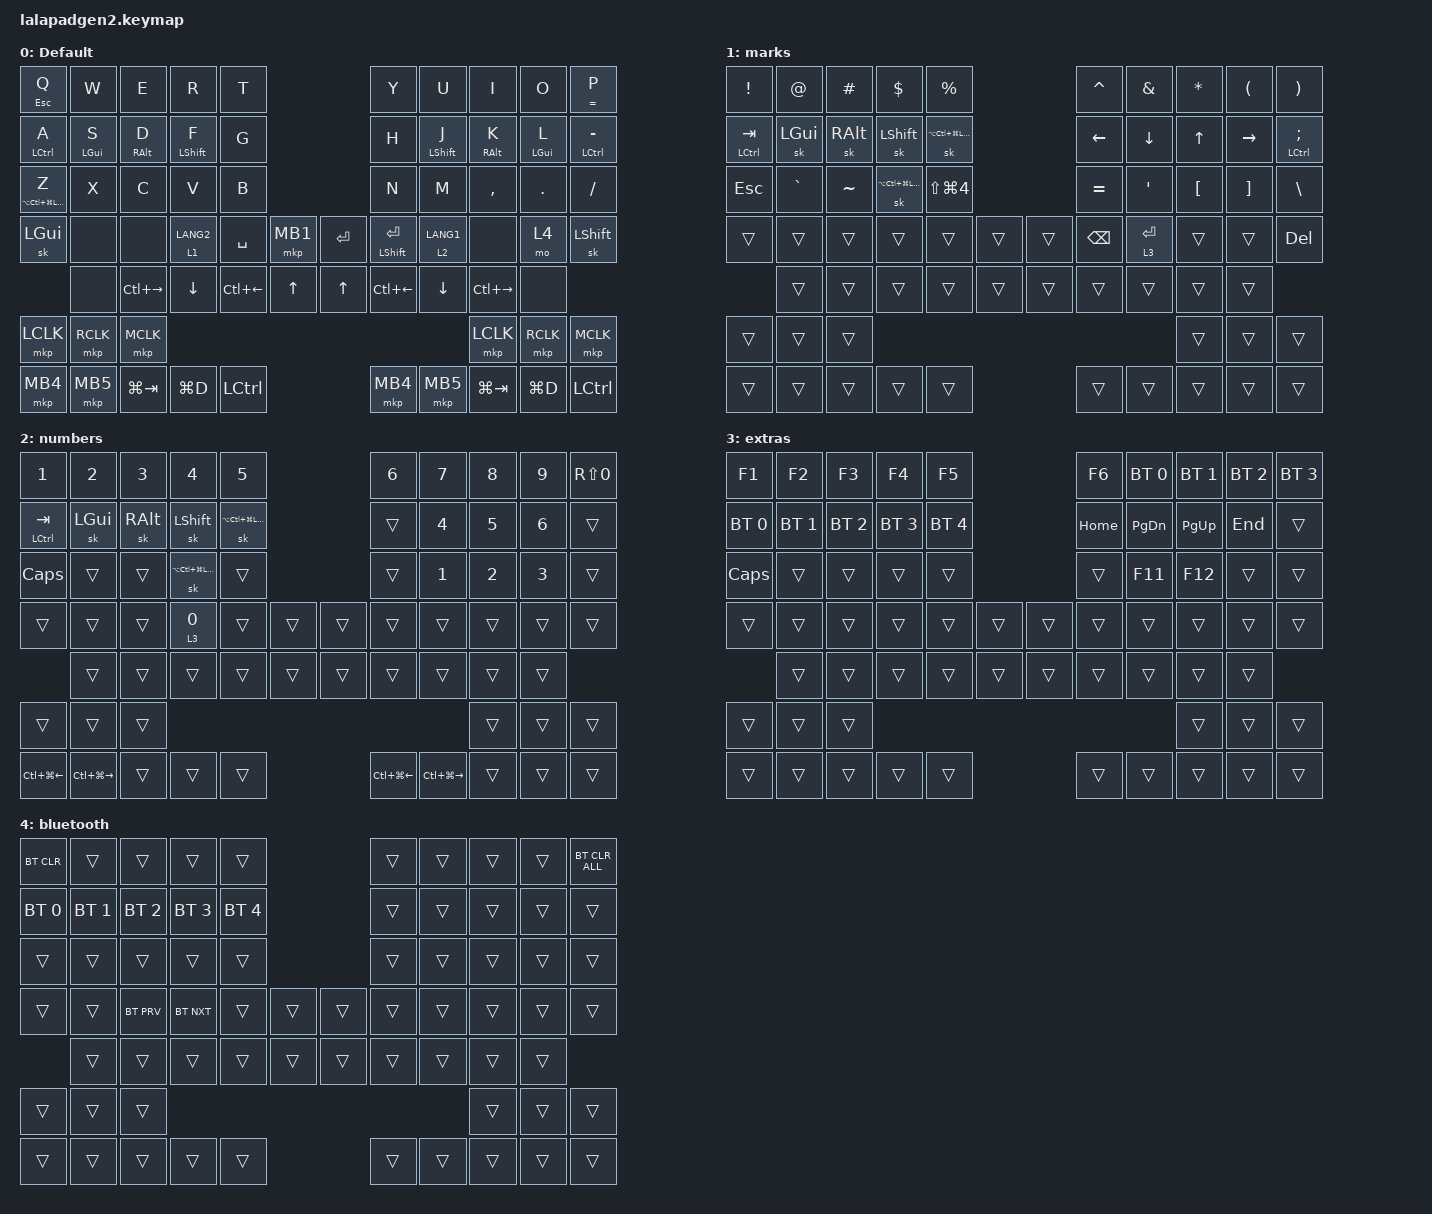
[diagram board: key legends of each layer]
#include <input/processors.dtsi>
#include <dt-bindings/zmk/zip_dynamic_scale.h>
#include <behaviors.dtsi>
#include <dt-bindings/zmk/bt.h>
#include <dt-bindings/zmk/keys.h>
#include <dt-bindings/zmk/pointing.h>

#define DEFAULT_LAYER   0
#define SECONDARY_LAYER 1
#define TERTIARY_LAYER  2
#define SYSTEM_LAYER    3

&mt { quick-tap-ms = <200>; };

&lt { quick-tap-ms = <200>; };

&trackpad_listener_L {
    status = "okay"; /* 最初はdisabledになっているので、ここで有効化します */

    /* 通常時の速度調整：好みに合わせて数値を変更してください */
    input-processors = <&trackpad_key_behaviors_L>,
                      <&zip_xy_scaler 1 5>,        /* 5倍速（等速） */
                      <&zip_scroll_scaler 1 12>,
                      <&zip_dynamic_xy_scaler>,
                      <&zip_dynamic_scroll_scaler>;

    /* レイヤー1または2（精細・低速モード）に入ったときの速度調整 */
    lowspeedmode {
        layers = <1 2>;
        input-processors = <&trackpad_key_behaviors_L>,
                          <&zip_xy_scaler 1 15>,       /* 15分の1（超低速） */
                          <&zip_scroll_scaler 1 40>,
                          <&zip_dynamic_xy_scaler>,
                          <&zip_dynamic_scroll_scaler>;
    };
};

&trackpad_listener_R {
    status = "okay"; /* 右側も有効化 */

    input-processors = <&trackpad_key_behaviors_R>,
                      <&zip_xy_scaler 1 5>,
                      <&zip_scroll_scaler 1 12>,
                      <&zip_dynamic_xy_scaler>,
                      <&zip_dynamic_scroll_scaler>;

    lowspeedmode {
        layers = <1 2>;
        input-processors = <&trackpad_key_behaviors_R>,
                          <&zip_xy_scaler 1 15>,
                          <&zip_scroll_scaler 1 40>,
                          <&zip_dynamic_xy_scaler>,
                          <&zip_dynamic_scroll_scaler>;
    };
};

/ {
    behaviors {
        zip_dyn_scale: zip_dyn_scale {
            compatible = "zmk,behavior-zip-dynamic-scale";
            #binding-cells = <2>;
        };

        zip_dyn_scale_set: zip_dyn_scale_set {
            compatible = "zmk,behavior-zip-dynamic-scale-set";
            #binding-cells = <2>;
        };

        mt2: mod_tap2 {
            compatible = "zmk,behavior-hold-tap";
            #binding-cells = <2>;
            flavor = "tap-preferred";
            tapping-term-ms = <200>;
            quick-tap-ms = <200>;
            require-prior-idle-ms = <125>;
            bindings = <&kp>, <&kp>;
        };

        tap_dance_layer_1and2: tap_dance_layer_1and2 {
            compatible = "zmk,behavior-tap-dance";
            label = "td_mo12";
            #binding-cells = <0>;
            bindings = <&mo 2>, <&mo 1>;
        };

        tap_preferred: tap_preferred {
            compatible = "zmk,behavior-hold-tap";
            label = "TAP_PREFERRED";
            bindings = <&kp>, <&kp>;

            #binding-cells = <2>;
            tapping-term-ms = <180>;
            quick-tap-ms = <180>;
            require-prior-idle-ms = <125>;
            flavor = "tap-preferred";
        };

        hold_prefferd: hold_prefferd {
            compatible = "zmk,behavior-hold-tap";
            label = "HOLD_PREFFERD";
            bindings = <&kp>, <&kp>;

            #binding-cells = <2>;
            tapping-term-ms = <180>;
            quick-tap-ms = <180>;
        };

        layer_hold_priority: layer_hold_priority {
            compatible = "zmk,behavior-hold-tap";
            label = "LAYER_HOLD_PRIORITY";
            bindings = <&mo>, <&kp>;

            #binding-cells = <2>;
            tapping-term-ms = <180>;
            quick-tap-ms = <180>;
            hold-while-undecided;
        };
    };

    combos {
        compatible = "zmk,combos";

        CONBO_ESC {
            bindings = <&kp ESCAPE>;
            key-positions = <0 1>;
        };

        COMBO_TAB {
            bindings = <&kp TAB>;
            key-positions = <10 11>;
        };

        en {
            bindings = <&kp LANGUAGE_2>;
            key-positions = <12 11>;
        };

        jp {
            bindings = <&kp LANGUAGE_1>;
            key-positions = <17 18>;
        };

        capslock {
            bindings = <&kp CAPSLOCK>;
            key-positions = <27 28>;
        };
    };

    keymap {
        compatible = "zmk,keymap";

        DEFAULT_LAYER {
            display-name = "Default";
            bindings = <
&tap_preferred ESCAPE Q                  &kp W                      &kp E                       &kp R                         &kp T                              &kp Y                            &kp U                         &kp I                       &kp O                      &tap_preferred EQUAL P
&tap_preferred LCTRL A                   &tap_preferred LEFT_GUI S  &tap_preferred RIGHT_ALT D  &tap_preferred LEFT_SHIFT F   &kp G                              &kp H                            &tap_preferred LEFT_SHIFT J   &tap_preferred RIGHT_ALT K  &tap_preferred LEFT_GUI L  &tap_preferred LEFT_CONTROL MINUS
&tap_preferred LA(LC(LG(LEFT_SHIFT))) Z  &kp X                      &kp C                       &kp V                         &kp B                              &kp N                            &kp M                         &kp COMMA                   &kp PERIOD                 &kp SLASH
&sk LEFT_GUI                             &none                      &none                       &layer_hold_priority 1 LANG2  &kp SPACE     &mkp MB1  &kp ENTER  &tap_preferred LEFT_SHIFT ENTER  &layer_hold_priority 2 LANG1  &none                       &mo 4                      &sk LEFT_SHIFT
                                         &none                      &kp LC(RIGHT)               &kp DOWN                      &kp LC(LEFT)  &kp UP    &kp UP     &kp LC(LEFT)                     &kp DOWN                      &kp LC(RIGHT)               &none
&mkp LCLK                                &mkp RCLK                  &mkp MCLK                                                                                                                                                   &mkp LCLK                   &mkp RCLK                  &mkp MCLK
&mkp MB4                                 &mkp MB5                   &kp LG(TAB)                 &kp LG(D)                     &kp LCTRL                          &mkp MB4                         &mkp MB5                      &kp LG(TAB)                 &kp LG(D)                  &kp LCTRL
            >;
        };

        marks {
            display-name = "marks";
            bindings = <
&kp EXCLAMATION                  &kp AT_SIGN   &kp HASH       &kp DOLLAR                  &kp PERCENT                                 &kp CARET      &kp AMPERSAND                 &kp ASTERISK      &kp LEFT_PARENTHESIS  &kp RIGHT_PARENTHESIS
&tap_preferred LEFT_CONTROL TAB  &sk LEFT_GUI  &sk RIGHT_ALT  &sk LEFT_SHIFT              &sk LA(LC(LG(LEFT_SHIFT)))                  &kp LEFT       &kp DOWN                      &kp UP_ARROW      &kp RIGHT             &tap_preferred LEFT_CONTROL SEMICOLON
&kp ESCAPE                       &kp GRAVE     &kp TILDE      &sk LA(LC(LG(LEFT_SHIFT)))  &kp LS(LG(NUMBER_4))                        &kp EQUAL      &kp SINGLE_QUOTE              &kp LEFT_BRACKET  &kp RIGHT_BRACKET     &kp BACKSLASH
&trans                           &trans        &trans         &trans                      &trans                      &trans  &trans  &kp BACKSPACE  &layer_hold_priority 3 ENTER  &trans            &trans                &kp DELETE
                                 &trans        &trans         &trans                      &trans                      &trans  &trans  &trans         &trans                        &trans            &trans
&trans                           &trans        &trans                                                                                                                              &trans            &trans                &trans
&trans                           &trans        &trans         &trans                      &trans                                      &trans         &trans                        &trans            &trans                &trans
            >;
        };

        numbers {
            display-name = "numbers";
            bindings = <
&kp NUMBER_1                     &kp NUMBER_2       &kp NUMBER_3   &kp NUMBER_4                &kp N5                                      &kp NUMBER_6      &kp N7             &kp N8        &kp N9        &kp RS(N0)
&tap_preferred LEFT_CONTROL TAB  &sk LEFT_GUI       &sk RIGHT_ALT  &sk LEFT_SHIFT              &sk LA(LC(LG(LEFT_SHIFT)))                  &trans            &kp NUMBER_4       &kp N5        &kp NUMBER_6  &trans
&kp CAPSLOCK                     &trans             &trans         &sk LA(LC(LG(LEFT_SHIFT)))  &trans                                      &trans            &kp NUMBER_1       &kp NUMBER_2  &kp NUMBER_3  &trans
&trans                           &trans             &trans         &layer_hold_priority 3 N0   &trans                      &trans  &trans  &trans            &trans             &trans        &trans        &trans
                                 &trans             &trans         &trans                      &trans                      &trans  &trans  &trans            &trans             &trans        &trans
&trans                           &trans             &trans                                                                                                                      &trans        &trans        &trans
&kp LC(LG(LEFT))                 &kp LC(LG(RIGHT))  &trans         &trans                      &trans                                      &kp LC(LG(LEFT))  &kp LC(LG(RIGHT))  &trans        &trans        &trans
            >;
        };

        extras {
            display-name = "extras";
            bindings = <
&kp F1        &kp F2        &kp F3        &kp F4        &kp F5                        &kp F6    &bt BT_SEL 0   &bt BT_SEL 1  &bt BT_SEL 2  &bt BT_SEL 3
&bt BT_SEL 0  &bt BT_SEL 1  &bt BT_SEL 2  &bt BT_SEL 3  &bt BT_SEL 4                  &kp HOME  &kp PAGE_DOWN  &kp PAGE_UP   &kp END       &trans
&kp CAPSLOCK  &trans        &trans        &trans        &trans                        &trans    &kp F11        &kp F12       &trans        &trans
&trans        &trans        &trans        &trans        &trans        &trans  &trans  &trans    &trans         &trans        &trans        &trans
              &trans        &trans        &trans        &trans        &trans  &trans  &trans    &trans         &trans        &trans
&trans        &trans        &trans                                                                             &trans        &trans        &trans
&trans        &trans        &trans        &trans        &trans                        &trans    &trans         &trans        &trans        &trans
            >;
        };

        bluetooth {
            bindings = <
&bt BT_CLR    &trans        &trans        &trans        &trans                        &trans  &trans  &trans  &trans  &bt BT_CLR_ALL
&bt BT_SEL 0  &bt BT_SEL 1  &bt BT_SEL 2  &bt BT_SEL 3  &bt BT_SEL 4                  &trans  &trans  &trans  &trans  &trans
&trans        &trans        &trans        &trans        &trans                        &trans  &trans  &trans  &trans  &trans
&trans        &trans        &bt BT_PRV    &bt BT_NXT    &trans        &trans  &trans  &trans  &trans  &trans  &trans  &trans
              &trans        &trans        &trans        &trans        &trans  &trans  &trans  &trans  &trans  &trans
&trans        &trans        &trans                                                                    &trans  &trans  &trans
&trans        &trans        &trans        &trans        &trans                        &trans  &trans  &trans  &trans  &trans
            >;
        };
    };

    conditional_layers {
        compatible = "zmk,conditional-layers";

        Cond_Syslayer {
            if-layers = <2 1>;
            then-layer = <3>;
        };
    };
};
